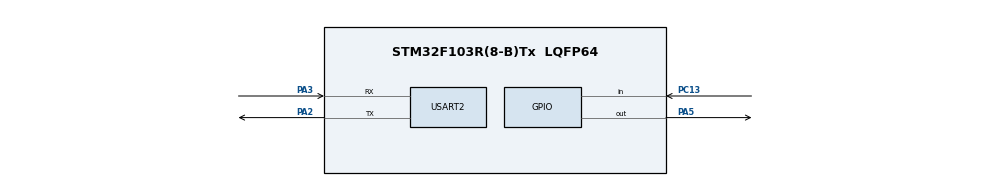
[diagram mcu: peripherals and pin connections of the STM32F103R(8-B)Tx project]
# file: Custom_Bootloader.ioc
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Mcu.Family=STM32F1
Mcu.Name=STM32F103R(8-B)Tx
Mcu.Package=LQFP64
NVIC.PriorityGroup=NVIC_PRIORITYGROUP_4
NVIC.USART2_IRQn=true\:0\:0\:false\:false\:true\:true\:true\:true
PA13.Mode=Serial_Wire
PA13.Signal=SYS_JTMS-SWDIO
PA14.Mode=Serial_Wire
PA14.Signal=SYS_JTCK-SWCLK
PA2.Mode=Asynchronous
PA2.Signal=USART2_TX
PA3.Mode=Asynchronous
PA3.Signal=USART2_RX
PA5.Signal=GPIO_Output
PC13-TAMPER-RTC.GPIO_PuPd=GPIO_PULLUP
PC13-TAMPER-RTC.Signal=GPIO_Input
PD0-OSC_IN.Mode=HSE-External-Clock-Source
PD0-OSC_IN.Signal=RCC_OSC_IN
PD1-OSC_OUT.Mode=HSE-External-Clock-Source
PD1-OSC_OUT.Signal=RCC_OSC_OUT
ProjectManager.HeapSize=0x200
ProjectManager.StackSize=0x400
ProjectManager.TargetToolchain=STM32CubeIDE
RCC.APB1Freq_Value=8000000
RCC.APB2Freq_Value=8000000
USART2.VirtualMode=VM_ASYNC
board=custom

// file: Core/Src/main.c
/* USER CODE BEGIN Header */
/**
  ******************************************************************************
  * @file           : main.c
  * @brief          : Main program body
  ******************************************************************************
  * @attention
  *
  * Copyright (c) 2026 STMicroelectronics.
  * All rights reserved.
  *
  * This software is licensed under terms that can be found in the LICENSE file
  * in the root directory of this software component.
  * If no LICENSE file comes with this software, it is provided AS-IS.
  *
  ******************************************************************************
  */
/* USER CODE END Header */
#include "main.h"

/* USER CODE BEGIN Includes */

#include <stdint.h>

/* USER CODE END Includes */

/* USER CODE BEGIN PD */
#define APP_MAX_SIZE    0xE000U
/* USER CODE END PD */

UART_HandleTypeDef huart2;

/* USER CODE BEGIN PV */

#define FW1_ADDRESS  0x08004000U
#define FW1_END      0x08012000U

#define FW2_ADDRESS  0x08012000U
#define FW2_END      0x08020000U

#define BKP_ACTIVE   BKP->DR1      // backup register   data register 1 (remembers which firmware ran last)

#define REQUEST_FW1  1U     // firmware 1 value,  user defined unique values
#define REQUEST_FW2  2U           // firmware 2 value  ,

#define BUTTON_PRESSED   GPIO_PIN_RESET

uint8_t receivebyte;             // in main,   for u and v

uint8_t rxBuffer[128];                 // in function ReceiveAndProgramFirmware    , for firmware

uint32_t firmwareSize;

volatile uint8_t rxDone = 0;             // flag             new. interrupt sets this to 1 when the requested bytes have arrived
/* USER CODE END PV */

void SystemClock_Config(void);
static void MX_GPIO_Init(void);
static void MX_USART2_UART_Init(void);
/* USER CODE BEGIN PFP */

HAL_StatusTypeDef EraseApplicationFlash(uint32_t startAddress, uint32_t firmwareSize);
HAL_StatusTypeDef ReceiveAndProgramFirmware( uint32_t startAddress, uint32_t firmwareSize);
HAL_StatusTypeDef VerifyFirmwareCRC(uint32_t firmwareSize, uint32_t expectedCRC);      // new. checks crc of the incoming firmware
HAL_StatusTypeDef UART_Receive_IT_Wait(uint8_t *buf, uint16_t len, uint32_t timeout);   // new. replacement of HAL_UART_Receive
/* USER CODE END PFP */

/* USER CODE BEGIN 0 */

void HAL_UART_RxCpltCallback(UART_HandleTypeDef *huart)   // new. called by Hal from the interrupt , call back function
{
	if (huart->Instance == USART2)
	    {
	        rxDone = 1;
	    }
}

// new. Replacement for HAL_UART_Receive, the interrupt receives the bytes, we only wait for the flag or timeout
HAL_StatusTypeDef UART_Receive_IT_Wait(uint8_t *buf, uint16_t len, uint32_t timeout)           // returns a HAL status
{
    rxDone = 0;
    HAL_UART_Receive_IT(&huart2, buf, len);          // start interrupt receive

    uint32_t start = HAL_GetTick();                // Stores the current system tick count
    while (rxDone == 0)
    {
        if (HAL_GetTick() - start >= timeout)                 // Checks whether the timeout has expired
        {
            HAL_UART_AbortReceive(&huart2);          // stop the receive on timeout
            return HAL_TIMEOUT;
        }
    }
    return HAL_OK;
}

void BackupRegister_Init(void)                  // Turns on the power and backup clocks and allows access to the backup registers
{
    __HAL_RCC_PWR_CLK_ENABLE();      //   Power clock on karta hai
    __HAL_RCC_BKP_CLK_ENABLE();        //   Backup clock on  karta hai

    HAL_PWR_EnableBkUpAccess();            // Backup access enable karna
}

void JumpToApplication(uint32_t appAddress, uint32_t appEnd)
{
    uint32_t appStack = *(__IO uint32_t *)appAddress;   // initial stack address read karta
    uint32_t appResetHandler = *(__IO uint32_t *)(appAddress + 4);   // Read  the rest Handler address

    if (appStack < 0x20000000U || appStack > 0x20005000U ||                            // validate the application addresses
        appResetHandler < appAddress ||  appResetHandler >= appEnd)                     // 20 kb sram
    {
        return;
    }

    __disable_irq();    // Disables CPU interrupts globally

    HAL_NVIC_DisableIRQ(USART2_IRQn);    // new. otherwise a pending UART interrupt would hit the application's vector table
    HAL_UART_DeInit(&huart2);            // new. switch UART off completely (also clears the receive interrupt enable)

    HAL_RCC_DeInit();    // clock configuration ko default state mein laata hai ,Reset and Clock Control
    HAL_DeInit();        // HAL peripherals ko deinitialize karta hai, both used for hardware configuration clean

    SCB->VTOR = appAddress;  // Application ka vector table address set karta hai

    __DSB();               // pehle ke memory operations complete karwata hai   , data synchronization barrier
    __ISB();               // processor ki instruction synchronize karta hai   , interrupt synchronization barrier

    __set_MSP(appStack);   // Application ka initial stack pointer set karta hai

    void (*AppResetHandler)(void) = (void (*)(void))appResetHandler;  //creates a function pointer that points to the application reset handler
    __enable_irq();        // interrupts enable karta hai

    AppResetHandler();     // Application ka Reset Handler execute karta hai
}

void SelectAndJump(void)                         // Reads DR1 saves the other firmware’s value, and jumps to FW1 or FW2
{
    uint16_t last = (uint16_t)BKP_ACTIVE;              // which firmware ran last

    if (last == REQUEST_FW1)
    {
        BKP_ACTIVE = REQUEST_FW2;                      //  FW2 is now active
        JumpToApplication(FW2_ADDRESS, FW2_END);
    }
    else
    {
        BKP_ACTIVE = REQUEST_FW1;                      // first time or after FW2 then FW1
        JumpToApplication(FW1_ADDRESS, FW1_END);
    }
}

HAL_StatusTypeDef ReceiveFirmwareSize(uint32_t *size, uint32_t *expectedCRC)  // Python se UART ke through firmware ka size receive karta hai
{
    uint8_t sizeBytes[4];
    uint8_t crcBytes[4];

    // receive firmware size
    if (UART_Receive_IT_Wait(sizeBytes, 4, 5000) != HAL_OK)       // new. was HAL_UART_Receive(&huart2, sizeBytes, 4, 5000)
    {
        return HAL_ERROR;
    }

    *size = (uint32_t)sizeBytes[0]
          | ((uint32_t)sizeBytes[1] << 8)
          | ((uint32_t)sizeBytes[2] << 16)
          | ((uint32_t)sizeBytes[3] << 24);

    if (*size == 0 || *size > APP_MAX_SIZE)
    {
        return HAL_ERROR;
    }

    if (UART_Receive_IT_Wait(crcBytes, 4, 5000) != HAL_OK)             // new. was HAL_UART_Receive(&huart2, crcBytes, 4, 5000)
    {
        return HAL_ERROR;
    }

    *expectedCRC = (uint32_t)crcBytes[0]
                 | ((uint32_t)crcBytes[1] << 8)
                 | ((uint32_t)crcBytes[2] << 16)
                 | ((uint32_t)crcBytes[3] << 24);

    return HAL_OK;
}

HAL_StatusTypeDef EraseApplicationFlash(uint32_t startAddress, uint32_t firmwareSize)
{
    FLASH_EraseInitTypeDef eraseInit;     //Erase structure
    uint32_t pageError;

    uint32_t numberOfPages = (firmwareSize + FLASH_PAGE_SIZE - 1) / FLASH_PAGE_SIZE;

    HAL_FLASH_Unlock();

    eraseInit.TypeErase = FLASH_TYPEERASE_PAGES;    // to erase pages
    eraseInit.PageAddress = startAddress;           // tells from where to erase,  means starting address (FW1 or FW2)
    eraseInit.NbPages = numberOfPages;    // how many pages erase

    HAL_StatusTypeDef status = HAL_FLASHEx_Erase(&eraseInit, &pageError);              //  eraseee

    HAL_FLASH_Lock();

    return status;
}

uint32_t CRC32_Update(uint32_t crc, const uint8_t *data, uint32_t length)

{
    while (length--)
    {
        crc ^= *data++;

        for (uint8_t i = 0; i < 8; i++)
        {
            if (crc & 1U)        // Check karta hai ke last bit 1 hai ya 0
            {
                crc = (crc >> 1) ^ 0xEDB88320U;     //xor
            }
            else
            {
                crc >>= 1;
            }
        }
    }

    return crc;
}

uint32_t CalculateFlashCRC(uint32_t address, uint32_t size)
{
    uint32_t crc = 0xFFFFFFFFU;                       // start value
    const uint8_t *flashData = (const uint8_t *)address;
    crc = CRC32_Update(crc, flashData, size);     // final crc of the firmware
    crc ^= 0xFFFFFFFFU;               // final
    return crc;
}

// NEW FUNCTION  (PASS 1)

 // If the CRC matches, only then the old firmware is erased (PASS 2).

HAL_StatusTypeDef VerifyFirmwareCRC(uint32_t firmwareSize, uint32_t expectedCRC)
{
    uint32_t crc = 0xFFFFFFFFU;
    uint32_t received = 0;

    while (received < firmwareSize)
    {
        uint16_t bytes =(firmwareSize - received > 128) ? 128 : (firmwareSize - received);

        // Receive firmware chunk from Python
        if (UART_Receive_IT_Wait(rxBuffer, bytes, 5000) != HAL_OK)       // new.  was HAL_UART_Receive(&huart2, rxBuffer, bytes, 5000)
        {
            return HAL_ERROR;
        }

        // Only calculate CRC, do not write to Flash
        crc = CRC32_Update(crc, rxBuffer, bytes);

        // Tell Python that this chunk was received
        uint8_t ack = 0x06;

        if (HAL_UART_Transmit(&huart2, &ack, 1, 1000) != HAL_OK)
        {
            return HAL_ERROR;
        }

        received += bytes;
    }

    crc ^= 0xFFFFFFFFU;

    // Compare Python CRC with the CRC of the data that really arrived
    if (crc != expectedCRC)
    {
        return HAL_ERROR;
    }

    return HAL_OK;
}

HAL_StatusTypeDef ReceiveAndProgramFirmware( uint32_t startAddress, uint32_t firmwareSize)
{
    uint32_t address = startAddress;
    uint32_t received = 0;

    HAL_StatusTypeDef status = HAL_OK;

    HAL_FLASH_Unlock();

    while (received < firmwareSize)
    {
        uint16_t bytes =
            (firmwareSize - received > 128) ? 128 : (firmwareSize - received);

        // Receive firmware chunk from Python
        if (UART_Receive_IT_Wait(rxBuffer, bytes, 5000) != HAL_OK)       // new. was HAL_UART_Receive(&huart2, rxBuffer, bytes, 5000)
        {
            status = HAL_ERROR;
            break;
        }

        // Program received bytes into Flash, 2 bytes at a time
        for (uint16_t i = 0; i < bytes; i += 2)
        {
            uint16_t data = rxBuffer[i];

            if (i + 1 < bytes)
            {
                data |= (uint16_t)rxBuffer[i + 1] << 8;
            }
            else
            {
                data |= 0xFF00;
            }

            if (HAL_FLASH_Program( FLASH_TYPEPROGRAM_HALFWORD, address,  data) != HAL_OK)
            {
                status = HAL_ERROR;
                break;
            }

            address += 2;
        }

        if (status != HAL_OK)
        {
            break;
        }

        // Tell Python that this chunk was programmed
        uint8_t ack = 0x06;

        if (HAL_UART_Transmit(&huart2, &ack, 1, 1000) != HAL_OK)
        {
            status = HAL_ERROR;
            break;
        }

        received += bytes;
    }

    HAL_FLASH_Lock();

    return status;
}

void UpdateFirmware(uint32_t startAddr)
{
    uint8_t ack = 0x06;
    uint8_t nack = 0x15;

    uint32_t expectedCRC = 0;
    uint32_t actualCRC = 0;

    if (ReceiveFirmwareSize(&firmwareSize, &expectedCRC) != HAL_OK)               // Receive firmware size and expected CRC from Python

    {
        HAL_UART_Transmit(&huart2, &nack, 1, 1000);
        return;
    }

    //  Tell Python size and CRC are received, now send the firmware for checking (PASS 1)
    HAL_UART_Transmit(&huart2, &ack, 1, 1000);

    //  PASS 1, check CRC of the incoming data BEFORE erasing anything.
    // If this fails we return here, so the old firmware in Flash is still safe
    if (VerifyFirmwareCRC(firmwareSize, expectedCRC) != HAL_OK)
    {
        HAL_UART_Transmit(&huart2, &nack, 1, 1000);
        return;
    }

    HAL_UART_Transmit(&huart2, &ack, 1, 1000);            //  CRC is good, tell Python

    // Erase selected Flash area (now it is safe, the new firmware is known to be good)
    if (EraseApplicationFlash(startAddr, firmwareSize) != HAL_OK)
    {
        HAL_UART_Transmit(&huart2, &nack, 1, 1000);
        return;
    }

    // Tell Python Flash is ready, send the firmware again (PASS 2)
    HAL_UART_Transmit(&huart2, &ack, 1, 1000);

    // Receive and program firmware
    if (ReceiveAndProgramFirmware(startAddr, firmwareSize) != HAL_OK)
    {
        HAL_UART_Transmit(&huart2, &nack, 1, 1000);
        return;
    }

    //  Calculate CRC by reading programmed Flash
    actualCRC = CalculateFlashCRC(startAddr, firmwareSize);

    // Compare Python CRC with Flash CRC
    if (actualCRC == expectedCRC)
    {
        HAL_UART_Transmit(&huart2, &ack, 1, 1000);

        // Remember which firmware was successfully updated
        if (startAddr == FW1_ADDRESS)
        {
            BKP_ACTIVE = REQUEST_FW1;
        }
        else if (startAddr == FW2_ADDRESS)
        {
            BKP_ACTIVE = REQUEST_FW2;
        }
    }
    else
    {
        HAL_UART_Transmit(&huart2, &nack, 1, 1000);
    }
}

/* USER CODE END 0 */

int main(void)
{

  /* MCU Configuration--------------------------------------------------------*/

  /* Reset of all peripherals, Initializes the Flash interface and the Systick. */
  HAL_Init();

  /* Configure the system clock */
  SystemClock_Config();

  /* Initialize all configured peripherals */
  MX_GPIO_Init();
  MX_USART2_UART_Init();
  /* USER CODE BEGIN 2 */

  BackupRegister_Init();                              // must be called before touching BKP

  // If the button is still pressed right after reset (firmware reset us because of the press), load the other firmware now
  if (HAL_GPIO_ReadPin(GPIOC, GPIO_PIN_13) == BUTTON_PRESSED)
  {
      SelectAndJump();
  }

  HAL_UART_Receive_IT(&huart2, &receivebyte, 1);       // new. start listening for the command byte

  /* USER CODE END 2 */

  /* Infinite loop */
  while (1)
  {

    /* USER CODE BEGIN 3 */

	      if (HAL_GPIO_ReadPin(GPIOC, GPIO_PIN_13) == BUTTON_PRESSED)
	      {
	          HAL_Delay(30);                                                    // debounce

	          if (HAL_GPIO_ReadPin(GPIOC, GPIO_PIN_13) == BUTTON_PRESSED)
	          {
	              SelectAndJump();                                              // jump to firmware 1 or firmware 2

	              // reached only if that firmware slot is empty: wait for button release
	              while (HAL_GPIO_ReadPin(GPIOC, GPIO_PIN_13) == BUTTON_PRESSED)
	              {
	                  HAL_Delay(10);
	              }
	          }
	      }

	      //  Python command: 'U' = update FW1, 'V' = update FW2
	      if (rxDone)                                      // new. command byte arrived by interrupt (was HAL_UART_Receive polling)
	      {
	          rxDone = 0;

	          if (receivebyte == 'U')
	          {
	              UpdateFirmware(FW1_ADDRESS);
	          }
	          else if (receivebyte == 'V')
	          {
	              UpdateFirmware(FW2_ADDRESS);
	          }

	          rxDone = 0;                                  // new. UpdateFirmware leaves rxDone = 1, clear it so it is not taken as a new command
	          HAL_UART_Receive_IT(&huart2, &receivebyte, 1);   // new. listen for the next command
	      }

  }
  /* USER CODE END 3 */
}

void SystemClock_Config(void)
{
  RCC_OscInitTypeDef RCC_OscInitStruct = {0};
  RCC_ClkInitTypeDef RCC_ClkInitStruct = {0};

  /** Initializes the RCC Oscillators according to the specified parameters
  * in the RCC_OscInitTypeDef structure.
  */
  RCC_OscInitStruct.OscillatorType = RCC_OSCILLATORTYPE_HSI;
  RCC_OscInitStruct.HSIState = RCC_HSI_ON;
  RCC_OscInitStruct.HSICalibrationValue = RCC_HSICALIBRATION_DEFAULT;
  RCC_OscInitStruct.PLL.PLLState = RCC_PLL_NONE;
  if (HAL_RCC_OscConfig(&RCC_OscInitStruct) != HAL_OK)
  {
    Error_Handler();
  }

  /** Initializes the CPU, AHB and APB buses clocks
  */
  RCC_ClkInitStruct.ClockType = RCC_CLOCKTYPE_HCLK|RCC_CLOCKTYPE_SYSCLK
                              |RCC_CLOCKTYPE_PCLK1|RCC_CLOCKTYPE_PCLK2;
  RCC_ClkInitStruct.SYSCLKSource = RCC_SYSCLKSOURCE_HSI;
  RCC_ClkInitStruct.AHBCLKDivider = RCC_SYSCLK_DIV1;
  RCC_ClkInitStruct.APB1CLKDivider = RCC_HCLK_DIV1;
  RCC_ClkInitStruct.APB2CLKDivider = RCC_HCLK_DIV1;

  if (HAL_RCC_ClockConfig(&RCC_ClkInitStruct, FLASH_LATENCY_0) != HAL_OK)
  {
    Error_Handler();
  }
}

static void MX_USART2_UART_Init(void)
{

  huart2.Instance = USART2;
  huart2.Init.BaudRate = 115200;
  huart2.Init.WordLength = UART_WORDLENGTH_8B;
  huart2.Init.StopBits = UART_STOPBITS_1;
  huart2.Init.Parity = UART_PARITY_NONE;
  huart2.Init.Mode = UART_MODE_TX_RX;
  huart2.Init.HwFlowCtl = UART_HWCONTROL_NONE;
  huart2.Init.OverSampling = UART_OVERSAMPLING_16;
  if (HAL_UART_Init(&huart2) != HAL_OK)
  {
    Error_Handler();
  }

}

static void MX_GPIO_Init(void)
{
  GPIO_InitTypeDef GPIO_InitStruct = {0};

  /* GPIO Ports Clock Enable */
  __HAL_RCC_GPIOC_CLK_ENABLE();
  __HAL_RCC_GPIOD_CLK_ENABLE();
  __HAL_RCC_GPIOA_CLK_ENABLE();

  /*Configure GPIO pin Output Level */
  HAL_GPIO_WritePin(GPIOA, GPIO_PIN_5, GPIO_PIN_RESET);

  /*Configure GPIO pin : PC13 */
  GPIO_InitStruct.Pin = GPIO_PIN_13;
  GPIO_InitStruct.Mode = GPIO_MODE_INPUT;
  GPIO_InitStruct.Pull = GPIO_PULLUP;
  HAL_GPIO_Init(GPIOC, &GPIO_InitStruct);

  /*Configure GPIO pin : PA5 */
  GPIO_InitStruct.Pin = GPIO_PIN_5;
  GPIO_InitStruct.Mode = GPIO_MODE_OUTPUT_PP;
  GPIO_InitStruct.Pull = GPIO_NOPULL;
  GPIO_InitStruct.Speed = GPIO_SPEED_FREQ_LOW;
  HAL_GPIO_Init(GPIOA, &GPIO_InitStruct);

}

void Error_Handler(void)
{
  __disable_irq();
  while (1)
  {
  }
}
